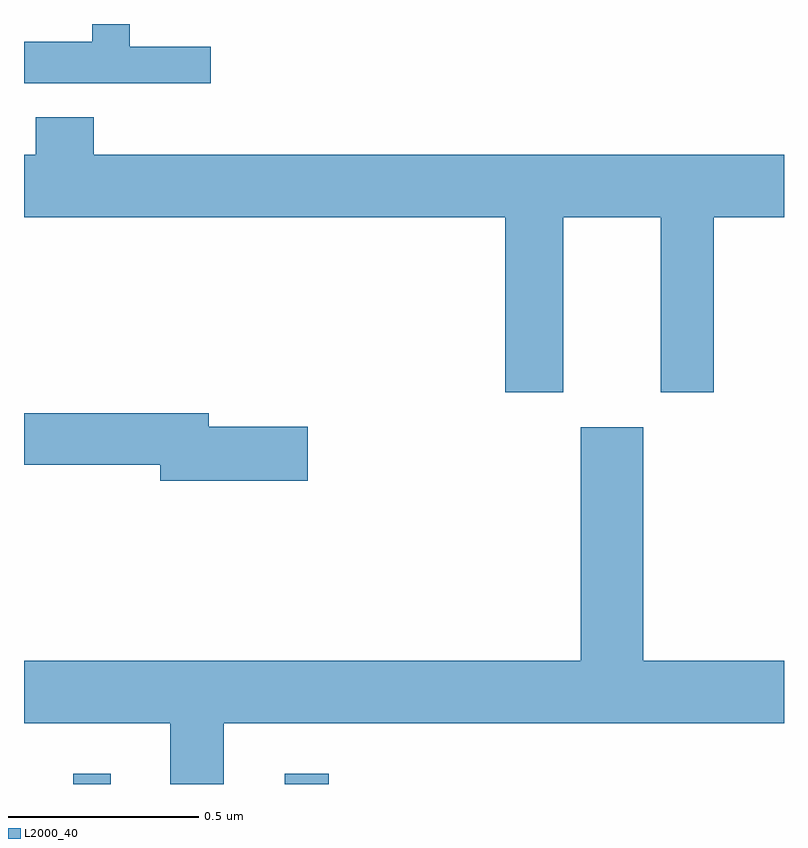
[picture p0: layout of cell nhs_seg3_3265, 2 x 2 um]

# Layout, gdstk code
import gdstk
lib = gdstk.Library(unit=1e-6, precision=1e-09)
def R(c, l, rs):  # rectangles x0, y0, x1, y1
    for r in rs: c.add(gdstk.rectangle(r[:2], r[2:], *l))
def P(c, l, *ps):  # polygons
    for p in ps: c.add(gdstk.Polygon(p, *l))
L2000_40 = (2000, 40)

nhs_seg3_3265 = lib.new_cell('nhs_seg3_3265')
R(nhs_seg3_3265, L2000_40, [(151.13,723.4,151.228,723.427), (151.686,723.4,151.802,723.427)])
P(nhs_seg3_3265, L2000_40, [(151.492,725.34),(151.278,725.34),(151.278,725.4),(151.18,725.4),(151.18,725.353),(151,725.353),(151,725.244),(151.492,725.244)],
  [(152.419,724.892),(152.675,724.892),(152.675,724.431),(152.815,724.431),(152.815,724.892),(153,724.892),(153,725.056),(151.184,725.056),(151.184,725.155),(151.031,725.155),(151.031,725.056),(151,725.056),(151,724.892),(152.267,724.892),(152.267,724.431),(152.419,724.431)],
  [(151.747,724.34),(151.486,724.34),(151.486,724.376),(151,724.376),(151,724.24),(151.358,724.24),(151.358,724.198),(151.747,724.198)],
  [(151.525,723.56),(153,723.56),(153,723.724),(152.629,723.724),(152.629,724.339),(152.465,724.339),(152.465,723.724),(151,723.724),(151,723.56),(151.385,723.56),(151.385,723.4),(151.525,723.4)])

lib.write_gds('nhs_seg3_3265.gds')
